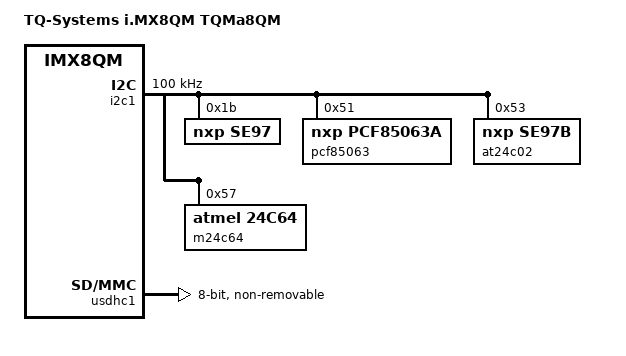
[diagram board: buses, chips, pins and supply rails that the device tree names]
// SPDX-License-Identifier: GPL-2.0-or-later OR MIT
/*
 * Copyright 2019-2020 TQ-Systems GmbH
 */

#include "fsl-imx8qm.dtsi"

/ {
	model = "TQ-Systems i.MX8QM TQMa8QM";
	compatible = "tq,imx8qm-tqma8qm", "fsl,imx8qm";

	config {
		/* 32 kiB redundant env */
		u-boot,mmc-env-offset = <0x400000>;
		u-boot,mmc-env-offset-redundant = <0x408000>;
	};
};

&iomuxc {
	pinctrl_lpi2c1: lpi2c1grp {
		fsl,pins = <
			SC_P_GPT0_CAPTURE_DMA_I2C1_SDA		0x0600004d
			SC_P_GPT0_CLK_DMA_I2C1_SCL		0x0600004d
		>;
	};

	pinctrl_usdhc1: usdhc1grp {
		fsl,pins = <
			SC_P_EMMC0_CLK_CONN_EMMC0_CLK		0x06000041
			SC_P_EMMC0_CMD_CONN_EMMC0_CMD		0x00000021
			SC_P_EMMC0_DATA0_CONN_EMMC0_DATA0	0x00000021
			SC_P_EMMC0_DATA1_CONN_EMMC0_DATA1	0x00000021
			SC_P_EMMC0_DATA2_CONN_EMMC0_DATA2	0x00000021
			SC_P_EMMC0_DATA3_CONN_EMMC0_DATA3	0x00000021
			SC_P_EMMC0_DATA4_CONN_EMMC0_DATA4	0x00000021
			SC_P_EMMC0_DATA5_CONN_EMMC0_DATA5	0x00000021
			SC_P_EMMC0_DATA6_CONN_EMMC0_DATA6	0x00000021
			SC_P_EMMC0_DATA7_CONN_EMMC0_DATA7	0x00000021
			SC_P_EMMC0_STROBE_CONN_EMMC0_STROBE	0x00000041
			SC_P_EMMC0_RESET_B_CONN_EMMC0_RESET_B	0x00000021
		>;
	};

	pinctrl_usdhc1_100mhz: usdhc1grp100mhz {
		fsl,pins = <
			SC_P_EMMC0_CLK_CONN_EMMC0_CLK		0x06000040
			SC_P_EMMC0_CMD_CONN_EMMC0_CMD		0x00000021
			SC_P_EMMC0_DATA0_CONN_EMMC0_DATA0	0x00000021
			SC_P_EMMC0_DATA1_CONN_EMMC0_DATA1	0x00000021
			SC_P_EMMC0_DATA2_CONN_EMMC0_DATA2	0x00000021
			SC_P_EMMC0_DATA3_CONN_EMMC0_DATA3	0x00000021
			SC_P_EMMC0_DATA4_CONN_EMMC0_DATA4	0x00000021
			SC_P_EMMC0_DATA5_CONN_EMMC0_DATA5	0x00000021
			SC_P_EMMC0_DATA6_CONN_EMMC0_DATA6	0x00000021
			SC_P_EMMC0_DATA7_CONN_EMMC0_DATA7	0x00000021
			SC_P_EMMC0_STROBE_CONN_EMMC0_STROBE	0x00000041
			SC_P_EMMC0_RESET_B_CONN_EMMC0_RESET_B	0x00000021
		>;
	};

	pinctrl_usdhc1_200mhz: usdhc1grp200mhz {
		fsl,pins = <
			SC_P_EMMC0_CLK_CONN_EMMC0_CLK		0x06000040
			SC_P_EMMC0_CMD_CONN_EMMC0_CMD		0x00000021
			SC_P_EMMC0_DATA0_CONN_EMMC0_DATA0	0x00000021
			SC_P_EMMC0_DATA1_CONN_EMMC0_DATA1	0x00000021
			SC_P_EMMC0_DATA2_CONN_EMMC0_DATA2	0x00000021
			SC_P_EMMC0_DATA3_CONN_EMMC0_DATA3	0x00000021
			SC_P_EMMC0_DATA4_CONN_EMMC0_DATA4	0x00000021
			SC_P_EMMC0_DATA5_CONN_EMMC0_DATA5	0x00000021
			SC_P_EMMC0_DATA6_CONN_EMMC0_DATA6	0x00000021
			SC_P_EMMC0_DATA7_CONN_EMMC0_DATA7	0x00000021
			SC_P_EMMC0_STROBE_CONN_EMMC0_STROBE	0x00000041
			SC_P_EMMC0_RESET_B_CONN_EMMC0_RESET_B	0x00000021
		>;
	};
};

&i2c1 {
	#address-cells = <1>;
	#size-cells = <0>;
	clock-frequency = <100000>;
	pinctrl-names = "default";
	pinctrl-0 = <&pinctrl_lpi2c1>;
	status = "okay";

	/* NXP SE97BTP with temperature sensor + eeprom */
	se97: temperature-sensor-eeprom@1b {
		compatible = "nxp,se97", "jedec,jc-42.4-temp";
		reg = <0x1b>;
		status = "okay";
	};

	pcf85063: rtc@51 {
		compatible = "nxp,pcf85063a";
		reg = <0x51>;
		quartz-load-femtofarads = <7000>;
	};

	at24c02: eeprom@53 {
		compatible = "nxp,se97b", "atmel,24c02";
		reg = <0x53>;
		pagesize = <16>;
		status = "okay";
	};

	m24c64: eeprom@57 {
		compatible = "atmel,24c64";
		reg = <0x57>;
		pagesize = <32>;
		status = "okay";
	};
};

&usdhc1 {
	pinctrl-names = "default", "state_100mhz", "state_200mhz";
	pinctrl-0 = <&pinctrl_usdhc1>;
	pinctrl-1 = <&pinctrl_usdhc1_100mhz>;
	pinctrl-2 = <&pinctrl_usdhc1_200mhz>;
	bus-width = <8>;
	no-sd;
	no-sdio;
	non-removable;
	status = "okay";
};
